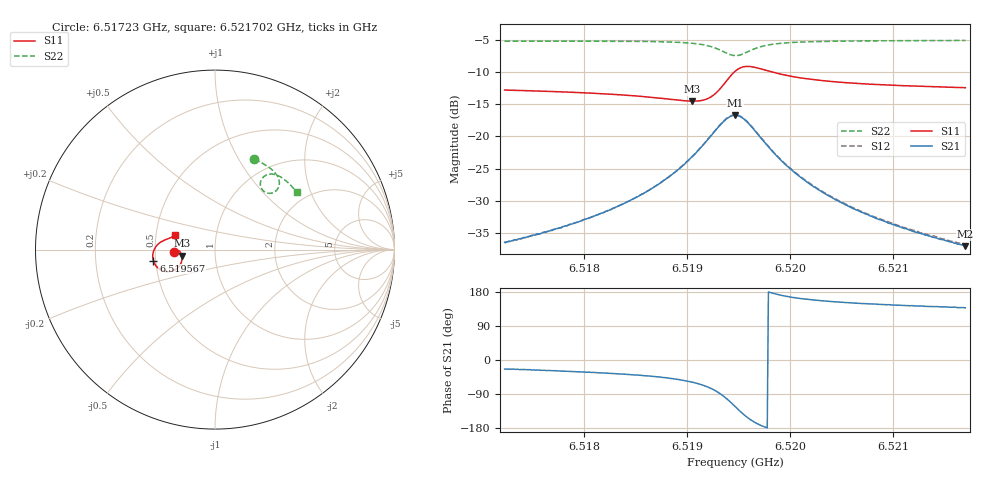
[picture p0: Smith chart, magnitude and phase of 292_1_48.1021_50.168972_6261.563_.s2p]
#  HZ  S  RI  R  50.00
! Rohde & Schwarz Vector Network Analyzer
! Rohde-Schwarz,ZNB20-2Port,1311601062101988,3.16
! Created: UTC 12/23/2023, 4:03:50 AM
! freq[Hz]  re:S11  im:S11  re:S21  im:S21  re:S12  im:S12  re:S22  im:S22
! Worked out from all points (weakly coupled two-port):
!   401 points, 6.51723 GHz to 6.521702 GHz, reference 50 ohm
!   highest |S21| = -16.72 dB at 6.519466 GHz (marker M1); lowest = -37.0 dB at 6.521702 GHz (marker M2)
!   lowest |S11| = -14.5 dB at 6.519052 GHz (marker M3), VSWR 1.46, Z = 34.3 - j2.39 ohm
!   |S11| at or under -10 dB: start of sweep to 6.51946 GHz; 6.519825 GHz to end of sweep
!   |S22| runs from -7.5 to -5.1 dB; largest |S21 - S12| = 0.0045
!   S11 on the Smith chart (normalised r, x): 6.51723 GHz: 0.63, -0.02; 6.519567 GHz: 0.49, -0.07; 6.521702 GHz: 0.63, +0.11
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6.5172299e9  -0.2287 -0.0122  0.0138 -0.00609  0.0139 -0.00557  0.2196 0.5029
6.5176548e9  -0.2235 -0.00642  0.0162 -0.00844  0.0165 -0.00806  0.2508 0.4885
6.5179791e9  -0.2183 -0.00313  0.019 -0.0116  0.0193 -0.0108  0.2748 0.4752
6.5184039e9  -0.2089 -0.00223  0.0241 -0.0187  0.0249 -0.0178  0.3067 0.4537
6.5187282e9  -0.1982 -0.00787  0.0303 -0.03  0.0315 -0.0294  0.3322 0.4309
6.5188847e9  -0.1916 -0.0158  0.0338 -0.0404  0.0353 -0.0397  0.3443 0.4151
6.5190524e9  -0.1847 -0.0335  0.0364 -0.0595  0.0384 -0.0586  0.3556 0.3909
6.519153e9  -0.1835 -0.0523  0.0341 -0.0778  0.0367 -0.0773  0.3585 0.3704
6.5192425e9  -0.19 -0.077  0.0245 -0.1002  0.0276 -0.1003  0.3538 0.3472
6.5192984e9  -0.2023 -0.0958  0.0107 -0.1162  0.0143 -0.1167  0.3437 0.3314
6.5193767e9  -0.2373 -0.1188  -0.0239 -0.1331  -0.0201 -0.1349  0.3163 0.315
6.5194661e9  -0.2984 -0.1148  -0.0782 -0.1232  -0.0754 -0.1264  0.2736 0.3235
6.5195108e9  -0.3249 -0.095  -0.0995 -0.1029  -0.0975 -0.1066  0.2587 0.3408
6.5195667e9  -0.3435 -0.0617  -0.1124 -0.0719  -0.1112 -0.0757  0.2526 0.367
6.5196785e9  -0.3406 -0.00417  -0.1036 -0.0228  -0.1037 -0.026  0.27 0.4048
6.5198015e9  -0.3188 0.0287  -0.0809 0.00201  -0.0817 -0.000493  0.2987 0.4193
6.5200028e9  -0.2895 0.0492  -0.0543 0.0135  -0.0554 0.0119  0.3343 0.4182
6.5202152e9  -0.2707 0.0572  -0.0386 0.015  -0.0395 0.0142  0.3597 0.4078
6.5205954e9  -0.2516 0.0642  -0.0244 0.0137  -0.0251 0.0132  0.3922 0.3861
6.5209644e9  -0.2403 0.0696  -0.0175 0.0118  -0.0181 0.0117  0.4164 0.3639
6.5212774e9  -0.2332 0.0738  -0.0139 0.0107  -0.0143 0.0106  0.4342 0.3448
6.5217023e9  -0.2254 0.0794  -0.0104 0.00944  -0.0109 0.00943  0.4558 0.3184
